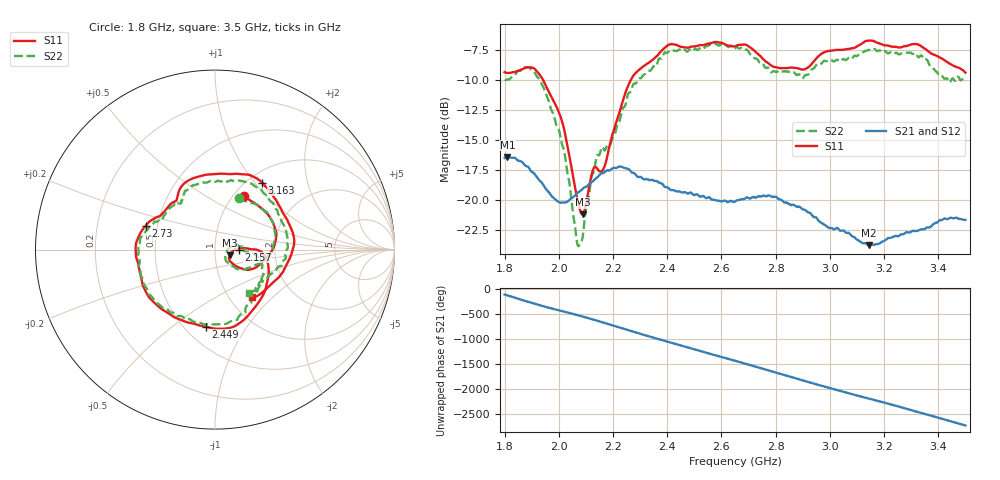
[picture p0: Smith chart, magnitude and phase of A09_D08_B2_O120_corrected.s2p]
! Created with skrf 1.9.0 (http://scikit-rf.org).
# Hz S RI R 50.0
!freq ReS11 ImS11 ReS21 ImS21 ReS12 ImS12 ReS22 ImS22
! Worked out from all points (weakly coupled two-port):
!   1601 points, 1.8 GHz to 3.5 GHz, reference 50 ohm
!   highest |S21| = -16.45 dB at 1.811 GHz (marker M1); lowest = -23.8 dB at 3.143 GHz (marker M2)
!   lowest |S11| = -21.2 dB at 2.088 GHz (marker M3), VSWR 1.19, Z = 58.7 - j3.72 ohm
!   |S11| at or under -10 dB: 1.941 GHz to 2.266 GHz (325.2 MHz wide, 15.5 % of centre)
!   |S22| runs from -23.9 to -7.0 dB; largest |S21 - S12| = 0.003
!   S11 on the Smith chart (normalised r, x): 1.8 GHz: 1.12, +0.75; 2.157 GHz: 1.30, -0.00; 2.449 GHz: 0.63, -0.67; 2.73 GHz: 0.43, +0.14; 3.163 GHz: 1.16, +1.10; 3.5 GHz: 1.27, -0.76
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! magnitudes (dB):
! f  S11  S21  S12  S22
! 1.8 GHz  -9.4  -16.5  -16.5  -10.0
! 1.811 GHz  -9.5  -16.4  -16.5  -10.0
! 1.886 GHz  -9.0  -17.2  -17.3  -9.0
! 1.94 GHz  -10.0  -18.7  -18.7  -10.5
! 2.011 GHz  -13.4  -20.2  -20.2  -15.4
! 2.067 GHz  -19.8  -19.5  -19.5  -23.5
! 2.084 GHz  -21.2  -19.2  -19.2  -23.4
! 2.088 GHz  -21.2  -19.1  -19.1  -23.1
! 2.127 GHz  -17.4  -18.4  -18.4  -17.8
! 2.157 GHz  -17.7  -17.8  -17.8  -15.7
! 2.195 GHz  -14.8  -17.4  -17.4  -15.0
! 2.263 GHz  -10.1  -17.6  -17.6  -11.0
! 2.367 GHz  -7.9  -18.5  -18.5  -8.4
! 2.449 GHz  -7.3  -19.4  -19.4  -7.6
! 2.65 GHz  -7.2  -20.1  -20.1  -7.4
! 2.73 GHz  -7.8  -19.8  -19.8  -8.3
! 2.934 GHz  -8.7  -21.3  -21.3  -9.1
! 3.143 GHz  -6.8  -23.8  -23.7  -7.5
! 3.163 GHz  -6.8  -23.8  -23.7  -7.5
! 3.217 GHz  -7.2  -23.2  -23.2  -7.8
! 3.325 GHz  -7.1  -22.6  -22.6  -8.1
! 3.5 GHz  -9.4  -21.7  -21.7  -10.2
